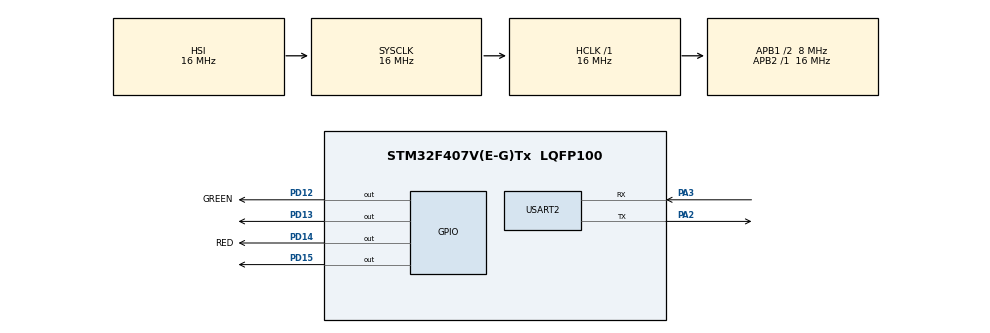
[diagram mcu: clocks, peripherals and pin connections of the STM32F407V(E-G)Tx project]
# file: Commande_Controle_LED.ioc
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Mcu.Family=STM32F4
Mcu.Name=STM32F407V(E-G)Tx
Mcu.Package=LQFP100
NVIC.PriorityGroup=NVIC_PRIORITYGROUP_4
NVIC.USART2_IRQn=true\:0\:0\:false\:false\:true\:true\:true\:true
PA2.GPIO_PuPd=GPIO_PULLUP
PA2.Mode=Asynchronous
PA2.Signal=USART2_TX
PA3.GPIO_PuPd=GPIO_PULLUP
PA3.Mode=Asynchronous
PA3.Signal=USART2_RX
PD12.GPIO_Label=GREEN
PD12.Signal=GPIO_Output
PD13.Signal=GPIO_Output
PD14.GPIO_Label=RED
PD14.Signal=GPIO_Output
PD15.Signal=GPIO_Output
PH0-OSC_IN.Mode=HSE-External-Oscillator
PH0-OSC_IN.Signal=RCC_OSC_IN
PH1-OSC_OUT.Mode=HSE-External-Oscillator
PH1-OSC_OUT.Signal=RCC_OSC_OUT
ProjectManager.HeapSize=0x200
ProjectManager.StackSize=0x400
ProjectManager.TargetToolchain=STM32CubeIDE
RCC.48MHZClocksFreq_Value=36000000
RCC.AHBFreq_Value=16000000
RCC.APB1CLKDivider=RCC_HCLK_DIV2
RCC.APB1Freq_Value=8000000
RCC.APB1TimFreq_Value=16000000
RCC.APB2Freq_Value=16000000
RCC.APB2TimFreq_Value=16000000
RCC.CortexFreq_Value=16000000
RCC.HCLKFreq_Value=16000000
RCC.HSE_VALUE=8000000
RCC.HSI_VALUE=16000000
RCC.LSE_VALUE=32768
RCC.PLLM=4
RCC.PLLN=72
RCC.PLLSourceVirtual=RCC_PLLSOURCE_HSE
RCC.SYSCLKFreq_VALUE=16000000
RCC.VCOOutputFreq_Value=144000000
USART2.VirtualMode=VM_ASYNC
board=custom

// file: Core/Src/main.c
/* USER CODE BEGIN Header */
/**
  ******************************************************************************
  * @file           : main.c
  * @brief          : Main program body
  ******************************************************************************
  * @attention
  *
  * Copyright (c) 2024 STMicroelectronics.
  * All rights reserved.
  *
  * This software is licensed under terms that can be found in the LICENSE file
  * in the root directory of this software component.
  * If no LICENSE file comes with this software, it is provided AS-IS.
  *
  ******************************************************************************
  */
/* USER CODE END Header */
#include "main.h"

UART_HandleTypeDef huart2;

/* USER CODE BEGIN PV */

uint8_t RxBuf[1];
uint8_t ReceivedData = 0;

/* USER CODE END PV */

void SystemClock_Config(void);
static void MX_GPIO_Init(void);
static void MX_USART2_UART_Init(void);

/* USER CODE BEGIN 0 */

void HAL_UART_RxCpltCallback(UART_HandleTypeDef *huart)
{
	if(huart->Instance == USART2)
	{
		ReceivedData=1;
	}
}

/* USER CODE END 0 */

int main(void)
{

  /* MCU Configuration--------------------------------------------------------*/

  /* Reset of all peripherals, Initializes the Flash interface and the Systick. */
  HAL_Init();

  /* Configure the system clock */
  SystemClock_Config();

  /* Initialize all configured peripherals */
  MX_GPIO_Init();
  MX_USART2_UART_Init();
  /* USER CODE BEGIN 2 */

  if (HAL_UART_Receive_IT(&huart2, RxBuf,sizeof(RxBuf) )!= HAL_OK)
  {
  	Error_Handler();
  }

  /* USER CODE END 2 */

  /* Infinite loop */
  /* USER CODE BEGIN WHILE */
  while (1)
  {

	  if (ReceivedData==1)
	  {
		  if (RxBuf[0] == '1')
		  {
			HAL_GPIO_WritePin(GPIOD, GREEN_Pin, GPIO_PIN_SET);
		    if (HAL_UART_Transmit(&huart2, RxBuf, sizeof(RxBuf), 100)!= HAL_OK)
		    {
		  	  Error_Handler();
		    }
		  }
		  else if (RxBuf[0] == '0')
		  {
			HAL_GPIO_WritePin(GPIOD, GREEN_Pin, GPIO_PIN_RESET);
		    if (HAL_UART_Transmit(&huart2, RxBuf, sizeof(RxBuf), 100)!= HAL_OK)
	        {
	  	      Error_Handler();
	        }
		  }
		  ReceivedData = 0;
		  if (HAL_UART_Receive_IT(&huart2, RxBuf, 1)!= HAL_OK)
		  {
		  	 Error_Handler();
		  }
	  }

    /* USER CODE END WHILE */

  }
}

void SystemClock_Config(void)
{
  RCC_OscInitTypeDef RCC_OscInitStruct = {0};
  RCC_ClkInitTypeDef RCC_ClkInitStruct = {0};

  /** Configure the main internal regulator output voltage
  */
  __HAL_RCC_PWR_CLK_ENABLE();
  __HAL_PWR_VOLTAGESCALING_CONFIG(PWR_REGULATOR_VOLTAGE_SCALE1);

  /** Initializes the RCC Oscillators according to the specified parameters
  * in the RCC_OscInitTypeDef structure.
  */
  RCC_OscInitStruct.OscillatorType = RCC_OSCILLATORTYPE_HSI;
  RCC_OscInitStruct.HSIState = RCC_HSI_ON;
  RCC_OscInitStruct.HSICalibrationValue = RCC_HSICALIBRATION_DEFAULT;
  RCC_OscInitStruct.PLL.PLLState = RCC_PLL_NONE;
  if (HAL_RCC_OscConfig(&RCC_OscInitStruct) != HAL_OK)
  {
    Error_Handler();
  }

  /** Initializes the CPU, AHB and APB buses clocks
  */
  RCC_ClkInitStruct.ClockType = RCC_CLOCKTYPE_HCLK|RCC_CLOCKTYPE_SYSCLK
                              |RCC_CLOCKTYPE_PCLK1|RCC_CLOCKTYPE_PCLK2;
  RCC_ClkInitStruct.SYSCLKSource = RCC_SYSCLKSOURCE_HSI;
  RCC_ClkInitStruct.AHBCLKDivider = RCC_SYSCLK_DIV1;
  RCC_ClkInitStruct.APB1CLKDivider = RCC_HCLK_DIV2;
  RCC_ClkInitStruct.APB2CLKDivider = RCC_HCLK_DIV1;

  if (HAL_RCC_ClockConfig(&RCC_ClkInitStruct, FLASH_LATENCY_0) != HAL_OK)
  {
    Error_Handler();
  }
}

static void MX_USART2_UART_Init(void)
{

  huart2.Instance = USART2;
  huart2.Init.BaudRate = 115200;
  huart2.Init.WordLength = UART_WORDLENGTH_8B;
  huart2.Init.StopBits = UART_STOPBITS_1;
  huart2.Init.Parity = UART_PARITY_NONE;
  huart2.Init.Mode = UART_MODE_TX_RX;
  huart2.Init.HwFlowCtl = UART_HWCONTROL_NONE;
  huart2.Init.OverSampling = UART_OVERSAMPLING_16;
  if (HAL_UART_Init(&huart2) != HAL_OK)
  {
    Error_Handler();
  }

}

static void MX_GPIO_Init(void)
{
  GPIO_InitTypeDef GPIO_InitStruct = {0};

  /* GPIO Ports Clock Enable */
  __HAL_RCC_GPIOH_CLK_ENABLE();
  __HAL_RCC_GPIOA_CLK_ENABLE();
  __HAL_RCC_GPIOD_CLK_ENABLE();

  /*Configure GPIO pin Output Level */
  HAL_GPIO_WritePin(GPIOD, GREEN_Pin|GPIO_PIN_13|RED_Pin|GPIO_PIN_15, GPIO_PIN_RESET);

  /*Configure GPIO pins : GREEN_Pin PD13 RED_Pin PD15 */
  GPIO_InitStruct.Pin = GREEN_Pin|GPIO_PIN_13|RED_Pin|GPIO_PIN_15;
  GPIO_InitStruct.Mode = GPIO_MODE_OUTPUT_PP;
  GPIO_InitStruct.Pull = GPIO_NOPULL;
  GPIO_InitStruct.Speed = GPIO_SPEED_FREQ_LOW;
  HAL_GPIO_Init(GPIOD, &GPIO_InitStruct);

}

void Error_Handler(void)
{
  /* USER CODE BEGIN Error_Handler_Debug */
  /* User can add his own implementation to report the HAL error return state */
  __disable_irq();
  HAL_GPIO_WritePin(GPIOD, RED_Pin, GPIO_PIN_SET);
  while (1)
  {
  }
  /* USER CODE END Error_Handler_Debug */
}
